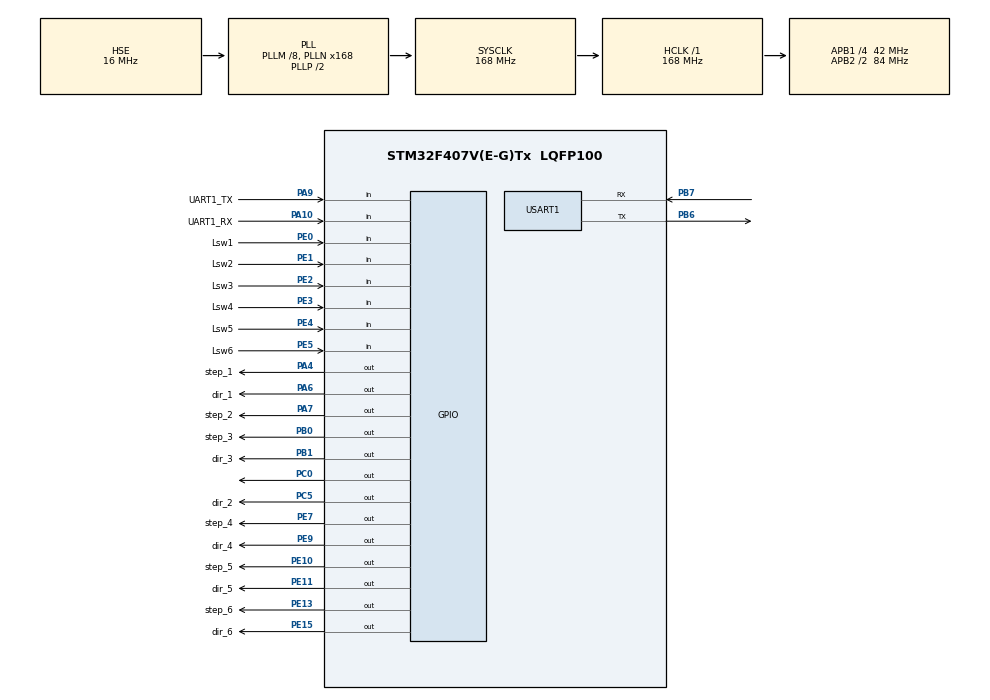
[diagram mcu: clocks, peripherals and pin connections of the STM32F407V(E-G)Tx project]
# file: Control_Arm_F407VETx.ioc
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Mcu.Family=STM32F4
Mcu.Name=STM32F407V(E-G)Tx
Mcu.Package=LQFP100
NVIC.PriorityGroup=NVIC_PRIORITYGROUP_4
NVIC.RCC_IRQn=true\:0\:0\:false\:false\:true\:true\:false
NVIC.TIM1_UP_TIM10_IRQn=true\:0\:0\:false\:false\:true\:true\:true
NVIC.TIM2_IRQn=true\:0\:0\:false\:false\:true\:true\:true
NVIC.TIM3_IRQn=true\:0\:0\:false\:false\:true\:true\:true
NVIC.TIM4_IRQn=true\:0\:0\:false\:false\:true\:true\:true
NVIC.TIM5_IRQn=true\:0\:0\:false\:false\:true\:true\:true
NVIC.TIM6_DAC_IRQn=true\:0\:0\:false\:false\:true\:true\:true
PA10.GPIO_Label=UART1_RX
PA10.Signal=GPIO_Input
PA13.Mode=Serial_Wire
PA13.Signal=SYS_JTMS-SWDIO
PA14.Mode=Serial_Wire
PA14.Signal=SYS_JTCK-SWCLK
PA4.GPIO_Label=step_1
PA4.Signal=GPIO_Output
PA6.GPIO_Label=dir_1
PA6.Signal=GPIO_Output
PA7.GPIO_Label=step_2
PA7.Signal=GPIO_Output
PA9.GPIO_Label=UART1_TX
PA9.Signal=GPIO_Input
PB0.GPIO_Label=step_3
PB0.Signal=GPIO_Output
PB1.GPIO_Label=dir_3
PB1.Signal=GPIO_Output
PB6.Mode=Asynchronous
PB6.Signal=USART1_TX
PB7.Mode=Asynchronous
PB7.Signal=USART1_RX
PC0.Signal=GPIO_Output
PC5.GPIO_Label=dir_2
PC5.Signal=GPIO_Output
PE0.GPIO_Label=Lsw1
PE0.Signal=GPIO_Input
PE1.GPIO_Label=Lsw2
PE1.Signal=GPIO_Input
PE10.GPIO_Label=step_5
PE10.Signal=GPIO_Output
PE11.GPIO_Label=dir_5
PE11.Signal=GPIO_Output
PE13.GPIO_Label=step_6
PE13.Signal=GPIO_Output
PE15.GPIO_Label=dir_6
PE15.Signal=GPIO_Output
PE2.GPIO_Label=Lsw3
PE2.Signal=GPIO_Input
PE3.GPIO_Label=Lsw4
PE3.Signal=GPIO_Input
PE4.GPIO_Label=Lsw5
PE4.Signal=GPIO_Input
PE5.GPIO_Label=Lsw6
PE5.Signal=GPIO_Input
PE7.GPIO_Label=step_4
PE7.Signal=GPIO_Output
PE9.GPIO_Label=dir_4
PE9.Signal=GPIO_Output
PH0-OSC_IN.Mode=HSE-External-Oscillator
PH0-OSC_IN.Signal=RCC_OSC_IN
PH1-OSC_OUT.Mode=HSE-External-Oscillator
PH1-OSC_OUT.Signal=RCC_OSC_OUT
ProjectManager.HeapSize=0x200
ProjectManager.StackSize=0x400
ProjectManager.TargetToolchain=STM32CubeIDE
RCC.48MHZClocksFreq_Value=84000000
RCC.AHBFreq_Value=168000000
RCC.APB1CLKDivider=RCC_HCLK_DIV4
RCC.APB1Freq_Value=42000000
RCC.APB1TimFreq_Value=84000000
RCC.APB2CLKDivider=RCC_HCLK_DIV2
RCC.APB2Freq_Value=84000000
RCC.APB2TimFreq_Value=168000000
RCC.CortexFreq_Value=168000000
RCC.HCLKFreq_Value=168000000
RCC.HSE_VALUE=16000000
RCC.HSI_VALUE=16000000
RCC.LSE_VALUE=32768
RCC.PLLM=8
RCC.PLLN=168
RCC.PLLSourceVirtual=RCC_PLLSOURCE_HSE
RCC.SYSCLKFreq_VALUE=168000000
RCC.SYSCLKSource=RCC_SYSCLKSOURCE_PLLCLK
RCC.VCOOutputFreq_Value=336000000
TIM1.AutoReloadPreload=TIM_AUTORELOAD_PRELOAD_ENABLE
TIM1.Period=1000
TIM1.Prescaler=167
TIM14.AutoReloadPreload=TIM_AUTORELOAD_PRELOAD_ENABLE
TIM14.Prescaler=83
TIM2.AutoReloadPreload=TIM_AUTORELOAD_PRELOAD_ENABLE
TIM2.Period=1000
TIM2.Prescaler=83
TIM3.AutoReloadPreload=TIM_AUTORELOAD_PRELOAD_ENABLE
TIM3.Period=1000
TIM3.Prescaler=83
TIM4.AutoReloadPreload=TIM_AUTORELOAD_PRELOAD_ENABLE
TIM4.Period=1000
TIM4.Prescaler=83
TIM5.AutoReloadPreload=TIM_AUTORELOAD_PRELOAD_ENABLE
TIM5.Period=1000
TIM5.Prescaler=83
TIM6.AutoReloadPreload=TIM_AUTORELOAD_PRELOAD_ENABLE
TIM6.Period=1000
TIM6.Prescaler=83
USART1.VirtualMode=VM_ASYNC
VP_TIM14_VS_ClockSourceINT.Mode=Enable_Timer
VP_TIM1_VS_ClockSourceINT.Mode=Internal
VP_TIM2_VS_ClockSourceINT.Mode=Internal
VP_TIM3_VS_ClockSourceINT.Mode=Internal
VP_TIM4_VS_ClockSourceINT.Mode=Internal
VP_TIM5_VS_ClockSourceINT.Mode=Internal
VP_TIM6_VS_ClockSourceINT.Mode=Enable_Timer
board=custom

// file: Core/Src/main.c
/* USER CODE BEGIN Header */
/**
  ******************************************************************************
  * @file           : main.c
  * @brief          : Main program body
  ******************************************************************************
  * @attention
  *
  * Copyright (c) 2022 STMicroelectronics.
  * All rights reserved.
  *
  * This software is licensed under terms that can be found in the LICENSE file
  * in the root directory of this software component.
  * If no LICENSE file comes with this software, it is provided AS-IS.
  *
  ******************************************************************************
  */
/* USER CODE END Header */
#include "main.h"
#include "tim.h"
#include "usart.h"
#include "gpio.h"

/* USER CODE BEGIN Includes */
//#include "stdio.h"
#include "Accel_stepper.h" // Stepper Library
#include "cli.h" // Uart Library
#include "MY_FLASH.h" // Flash memory
#include "Inverse_Arm.h"
#include "string.h"
/* USER CODE END Includes */

/* USER CODE BEGIN PTD */
/*Declare acceleration for each stepper*/
Acceleration_t Stepper1;
Acceleration_t Stepper2;
Acceleration_t Stepper3;
Acceleration_t Stepper4;
Acceleration_t Stepper5;
Acceleration_t Stepper6;
Inv_Arm_t Arm;

/*
.
.
Acceleration_t Stepper#n
*/

/* USER CODE END PTD */

/* USER CODE BEGIN PM */
//Formula compare the value of stepper
#define max(x,y) (x > y) ? x : y;
#define min(x,y) (x > y) ? y : x;
/* USER CODE END PM */

/* USER CODE BEGIN PV */
//=================================ARM=========================================//
float theta1 = 0;
float theta2 = 0;
float theta3 = 0;
float theta4 = 0;
float theta5 = 0;
float theta6 = 0;

int set_theta1 = 0;
int set_theta2 = 0;
int set_theta3 = 0;
int set_theta4 = 0;
int set_theta5 = 0;
int set_theta6 = 0;

uint8_t freerun = 1;
int Move_angle1=0;
int Move_angle2=0;
int Move_angle3=0;
int Move_angle4=0;
int Move_angle5=0;
int Move_angle6=0;

uint8_t Lsw1 = 0;
uint8_t Lsw2 = 0;
uint8_t Lsw3 = 0;
uint8_t Lsw4 = 1;
uint8_t Lsw5 = 0;
uint8_t Lsw6 = 0;

uint16_t theta1dot = 0;
uint16_t theta2dot = 0;
uint16_t theta3dot = 0;
uint16_t theta4dot = 0;
uint16_t theta5dot = 0;
uint16_t theta6dot = 0;
uint16_t max_speed = 500;

uint16_t accel1 = 0;
uint16_t accel2 = 0;
uint16_t accel3 = 0;
uint16_t accel4 = 0;
uint16_t accel5 = 0;
uint16_t accel6 = 0;
uint16_t a_max = 2000;

uint32_t step1 = 0;
uint32_t step2 = 0;
uint32_t step3 = 0;
uint32_t step4 = 0;
uint32_t step5 = 0;
uint32_t step6 = 0;

Memory_t memory;
char uart_buffer[100];
char Data[10] = "Hello\n\r";

// Uart_buffer store variable from cmd;
/* USER CODE END PV */

void SystemClock_Config(void);
/* USER CODE BEGIN PFP */
void HAL_TIM_PeriodElapsedCallback(TIM_HandleTypeDef *htim);
void stepper_set_rpm (uint16_t rpm);

/* USER CODE END PFP */

/* USER CODE BEGIN 0 */
void DelayUs_step(uint32_t us)
{
	HAL_TIM_Base_Start_IT(&htim14);
	//(&htim7)->Instance->CNT = (0);
	__HAL_TIM_SET_COUNTER(&htim14, 0);
	while(__HAL_TIM_GET_COUNTER(&htim14) < us);
	HAL_TIM_Base_Stop_IT(&htim14);
}
// Compare the value of 6 stepper motor
int max6(int a, int b, int c, int d,int e, int f){
	int n1=max(a,b);
	int n2=max(c,d);
	int n3=max(e,f);
	int n4=max(n1,n2);
    return max(n3,n4);
}
// Limit switch start
void limit_switch (){
//   Lsw1= HAL_GIOP_ReadPin​(GPIOE, GPIO_PIN_0);
     Lsw2= HAL_GPIO_ReadPin(GPIOE, GPIO_PIN_1);
     Lsw3= HAL_GPIO_ReadPin(GPIOE, GPIO_PIN_2);
     Lsw4= HAL_GPIO_ReadPin(GPIOE, GPIO_PIN_3);
     Lsw5= HAL_GPIO_ReadPin(GPIOE, GPIO_PIN_4);
     Lsw6= HAL_GPIO_ReadPin(GPIOE, GPIO_PIN_5);
}
signed int angle2step(float angle, int ratio){
	    return angle*SPR*ratio/360;
//  	return angle*SPR*ratio/360   ;//20=2*gearratio
}
signed int rad2step(float rads, int gear){
//	rads*SPR*10/(2*pi)=rads/ALPHA
	return rads*gear/ALPHA;//20=2*gearratio
}
void HOME(void){
//	static uint8_t rule2= 0;  // static run for only one time
	HAL_GPIO_WritePin(dir_1_GPIO_Port, dir_1_Pin, 0);//CW-
	HAL_GPIO_WritePin(dir_2_GPIO_Port, dir_2_Pin, 1);//CCW+
	HAL_GPIO_WritePin(dir_3_GPIO_Port, dir_3_Pin, 0);//CW-
	HAL_GPIO_WritePin(dir_4_GPIO_Port, dir_4_Pin, 1);//CCW+
	HAL_GPIO_WritePin(dir_5_GPIO_Port, dir_5_Pin, 1);//CW-
    HAL_GPIO_WritePin(dir_6_GPIO_Port, dir_6_Pin, 1);//CCW+
while (Lsw2 ==0 || Lsw3==0 ||Lsw5==0 ){ // if it work in condition 0 when it touch limit switch Lsw=1=> Out of loop
      limit_switch ();// call void limit switch
	if (Lsw2==0){
	HAL_GPIO_TogglePin(step_2_GPIO_Port, step_2_Pin);
	}
	if (Lsw3==0){
	 HAL_GPIO_TogglePin(step_3_GPIO_Port, step_3_Pin);
	}
//    if ( Lsw4==1){
//    	HAL_GPIO_TogglePin(step_4_GPIO_Port, step_4_Pin);// Lsw4==0 when the motor keep in touch with (**Logic AND)
//    }
    if (Lsw5==0){
    	HAL_GPIO_TogglePin(step_5_GPIO_Port, step_5_Pin);
    }
    DelayUs_step(200); // Control pule delay motor
  }
//  while (Lsw1==0){
//	limit_switch();
//	if (Lsw1==0){
//		HAL_GPIO_TogglePin(step_1_GPIO_Port, step_1_Pin);
//	}
//	DelayUs_step(400);  //(Axis-1 move later)
//  }
}
// Limit switch End
//
// To find the max value
void Syn_Stepper(int step1, int step2, int step3, int step4, int step5, int step6){
	int step_max = max6(abs(step1), abs(step2), abs(step3), abs(step4), abs(step5), abs(step6));
	float coef1 = fabs(step1)/step_max;
	float coef2 = fabs(step2)/step_max;
	float coef3 = fabs(step3)/step_max;
	float coef4 = fabs(step4)/step_max;
	float coef5 = fabs(step5)/step_max;
	float coef6 = fabs(step6)/step_max;
	theta1dot = max_speed * coef1;
	theta2dot = max_speed * coef2;
	theta3dot = max_speed * coef3;
	theta4dot = max_speed * coef4;
	theta5dot = max_speed * coef5;
	theta6dot = max_speed * coef6;
	accel1 = a_max * coef1;
	accel2 = a_max * coef2;
	accel3 = a_max * coef3;
	accel4 = a_max * coef4;
	accel5 = a_max * coef5;
	accel6 = a_max * coef6;
}
/* USER CODE END 0 */

int main(void)
{

  /* MCU Configuration--------------------------------------------------------*/

  /* Reset of all peripherals, Initializes the Flash interface and the Systick. */
  HAL_Init();

  /* Configure the system clock */
  SystemClock_Config();

  /* Initialize all configured peripherals */
  MX_GPIO_Init();
  MX_TIM1_Init();
  MX_TIM2_Init();
  MX_TIM3_Init();
  MX_TIM4_Init();
  MX_TIM5_Init();
  MX_TIM6_Init();
  MX_TIM14_Init();
  MX_USART1_UART_Init();
  /* USER CODE BEGIN 2 */
//  stepper_motor_set_param(MOTOR_X, 100);
	  Accel_Stepper_SetPin(&Stepper1, step_1_GPIO_Port, step_1_Pin, dir_1_GPIO_Port, dir_1_Pin);
	  Accel_Stepper_SetPin(&Stepper2, step_2_GPIO_Port, step_2_Pin, dir_2_GPIO_Port, dir_2_Pin);
	  Accel_Stepper_SetPin(&Stepper3, step_3_GPIO_Port, step_3_Pin, dir_3_GPIO_Port, dir_3_Pin);
	  Accel_Stepper_SetPin(&Stepper4, step_4_GPIO_Port, step_4_Pin, dir_4_GPIO_Port, dir_4_Pin);
	  Accel_Stepper_SetPin(&Stepper5, step_5_GPIO_Port, step_5_Pin, dir_5_GPIO_Port, dir_5_Pin);
	  Accel_Stepper_SetPin(&Stepper6, step_6_GPIO_Port, step_6_Pin, dir_6_GPIO_Port, dir_6_Pin);
	  Accel_Stepper_SetTimer(&Stepper1, &htim1);
	  Accel_Stepper_SetTimer(&Stepper2, &htim2);
	  Accel_Stepper_SetTimer(&Stepper3, &htim3);
      Accel_Stepper_SetTimer(&Stepper4, &htim4);
	  Accel_Stepper_SetTimer(&Stepper5, &htim5);
	  Accel_Stepper_SetTimer(&Stepper6, &htim6);
	  HAL_Delay(2000);
// Testing motor
//	  Accel_Stepper_Move(&Stepper1, angle2step(60,5), 1000, 1000, 200);
//	  Accel_Stepper_Move(&Stepper2, angle2step(60,20), 1000, 1000, 200);
//	  Accel_Stepper_Move(&Stepper3, angle2step(60,20), 1000, 1000, 200);
//	  Accel_Stepper_Move(&Stepper4, angle2step(60,14), 1000, 1000, 200);
//	  Accel_Stepper_Move(&Stepper5, angle2step(30,14), 1000, 1000, 200);
//	  Accel_Stepper_Move(&Stepper6, angle2step(60,14), 1000, 1000, 200);
// Testing Power Input
//	  HAL_GPIO_WritePin(dir_2_GPIO_Port, dir_2_Pin, 0);
//	  HAL_GPIO_WritePin(step_2_GPIO_Port, step_2_Pin, 0);

HOME(); // Call the function Home to use
//	Initial angle
	  	theta1 = 90;  // Set_Point as Home
	  	theta2 = 90;
	  	theta3 = 90;
//	  	theta4 = 0;
	  	theta5 = 90;
	  	theta6 = 0;
	  	Accel_Stepper_Move(&Stepper1, angle2step(0,5) , 1000, 1000, 200);
	  	Accel_Stepper_Move(&Stepper2, angle2step(-90,20) , 1000, 1000, 200);
	  	Accel_Stepper_Move(&Stepper3, angle2step(90,20) , 1000, 1000, 200);
//	  	Accel_Stepper_Move(&Stepper4, angle2step(0,14) , 1000, 1000, 200);
		Accel_Stepper_Move(&Stepper5, angle2step(-90,14) , 1000, 1000, 200);
//		angle2step(angle move back after get touch with limit switch to Home, ratio);

CLI_Init(&huart1);
MY_FLASH_SetSectorAddrs(11, 0x080E5000); // address flash memory
//MY_FLASH_SetSectorAddrs(sector, address);

  /* USER CODE END 2 */

  /* Infinite loop */
  while (1)
  {

    /* USER CODE BEGIN 3 */
//	  HAL_UART_Transmit(&huart1,(uint8_t*) &Data, sizeof(Data), 100);
//	  HAL_Delay(1000);

	  static uint8_t count_arm = 0;

	 if(Stepper1.run_status != 1 && Stepper2.run_status != 1 && Stepper3.run_status != 1 && Stepper5.run_status != 1 && Stepper6.run_status != 1){
	 	 	  if(freerun == 1){
	 			  switch(count_arm){

//	 			Cinematic Mode
	 			  case 0:
	 				  Arm.theta1 = 20;
	 				  Arm.theta2 = 80;
	 				  Arm.theta3 = 60;
//	 			      Arm.theta4 = 0;
	 				  Arm.theta5 = 130;
	 				  Arm.theta6 = 90;
	 				  break;
	 			  case 1:
	 				  Arm.theta1 = 90;
	 				  Arm.theta2 = 60;
	 				  Arm.theta3 = 90;
//	 			      Arm.theta4 = 0;
	 				  Arm.theta5 = 120;
	 				  Arm.theta6 = 0;
	 				  break;

	 			  case 2:
	 				  Arm.theta1 = 120;
	 				  Arm.theta2 = 100;
	 				  Arm.theta3 = 60;
//	 				  Arm.theta4 = 0;
	 				  Arm.theta5 = 120;
	 				  Arm.theta6 = -90;
	 				 break;
	 			  case 3:
	 				  Arm.theta1 = 160;
	 				  Arm.theta2 = 90;
	 				  Arm.theta3 = 60;
//	 				  Arm.theta4 = 0;
	 				  Arm.theta5 =120;
	 				  Arm.theta6 = 0;
	 				 break;
	 			  }
	 			  Move_angle1 = angle2step(Arm.theta1 - theta1, 5);
	 			  Move_angle2 = angle2step(Arm.theta2 - theta2, 20);
	 			  Move_angle3 = angle2step(Arm.theta3 - theta3, 20);
//	 		      Move_angle4 = angle2step(Arm.theta4 - theta4, 14);
	 			  Move_angle5 = angle2step(Arm.theta5 - theta5, 14);
	 			  Move_angle6 = angle2step(Arm.theta6 - theta6, 14);

	 			  Syn_Stepper(Move_angle1, Move_angle2, Move_angle3, Move_angle4, Move_angle5, Move_angle6);

	 			  Accel_Stepper_Move(&Stepper1, Move_angle1, accel1, accel1, theta1dot);
	 			  Accel_Stepper_Move(&Stepper2, Move_angle2, accel2, accel2, theta2dot);
	 			  Accel_Stepper_Move(&Stepper3, Move_angle3, accel3, accel3, theta3dot);
//	 		      Accel_Stepper_Move(&Stepper4, Move_angle4, accel4, accel4, theta4dot);
	 			  Accel_Stepper_Move(&Stepper5, Move_angle5, accel5, accel5, theta5dot);
	 			  Accel_Stepper_Move(&Stepper6, Move_angle6, accel6, accel6, theta6dot);

	 			  theta1 = Arm.theta1; // Set theta to update
	 			  theta2 = Arm.theta2;
	 			  theta3 = Arm.theta3;
//	 		      theta4 = Arm.theta4;
	 			  theta5 = Arm.theta5;
	 			  theta6 = Arm.theta6;
//	 			  Drawing Mode
//	 			 case 0:
//	 			   Arm.theta1= 90;
//	 			   Arm.theta2= 90;
//	 			   Arm.theta3= 60;
//	 			   Arm.theta5= 110;
//	 			   Arm.theta6= 0;
//	 			break;
//	 			 case 1:
//	 			   Arm.theta1= 80;
//	 			   Arm.theta2= 90;
//	 			   Arm.theta3= 100;
//	 			   Arm.theta5= 110;
//	 			   Arm.theta6= 0;
//	 			 break;
////	 			 case 2:
////	 		  Arm.theta1= 90;
////	 		  Arm.theta2= 90;
////	 		  Arm.theta3= 90;
////	 		  Arm.theta5= 110;
////	 		  Arm.theta6= 0;
////	 		break;
////	 		case 3:
////	 		Arm.theta1= 80;
////	 		Arm.theta2= 90;
////	 		Arm.theta3= 100;
////	 	    Arm.theta5=110;
////	 	    Arm.theta6= 0;
////	 	    break;
//	 			  }
//	 	     Move_angle1 = angle2step(Arm.theta1 - theta1, 5);
//	 	     Move_angle2 = angle2step(Arm.theta2 - theta2, 20);
//           Move_angle3 = angle2step(Arm.theta3 - theta3, 20);
//	 	     Move_angle5 = angle2step(Arm.theta5 - theta5, 14);
//	 	     Move_angle6 = angle2step(Arm.theta6 - theta6, 14);
//
//          Syn_Stepper(Move_angle1, Move_angle2, Move_angle3, Move_angle4, Move_angle5, Move_angle6);

//	        Accel_Stepper_Move(&Stepper1, Move_angle1, accel1, accel1, theta1dot);
//	 	    Accel_Stepper_Move(&Stepper2, Move_angle2, accel2, accel2, theta2dot);
//	        Accel_Stepper_Move(&Stepper3, Move_angle3, accel3, accel3, theta3dot);
//	        Accel_Stepper_Move(&Stepper5, Move_angle5, accel5, accel5, theta5dot);
//          Accel_Stepper_Move(&Stepper6, Move_angle6, accel6, accel6, theta6dot);

//	 		 theta1 = Arm.theta1;
//	 	     theta2 = Arm.theta2;
//	 		 theta2 = Arm.theta3;
//	 	     theta5 = Arm.theta5;
//	 		 theta6 = Arm.theta6;
	 		  }
	 		 count_arm = count_arm + 1;
	 		 if(count_arm > 3) count_arm = 0;
	  }
    // UART Start
    CLI_Process(); // Call the CLI Library to use
	char* msg=strtok(uart_buffer," ");//Get msg and store by uart_buffer
	  if(strcmp(msg, "set_home")==0){ //After get msg string compare start comparing the value (msg and set_home); (*Logic AND)
		                              //The both of two value should the same by  using string compare
		HOME();
		theta1 = 90;
		theta2 = 90;
		theta3 = 90;
		theta4 = 0;
		theta5 = 90;
		theta6 = 0;
		CLI_Printf("Done!");
	 	memset(uart_buffer, 0, 100);
	  }
	   if (strcmp(msg, "set_amax")==0){
	      char* cmd=strtok(uart_buffer, " ");
	   if (cmd !=NULL){
	    	  char* arg = strtok(NULL, " "); // read the string after x (read char from cmd)
	    	   uint32_t val = atoi(arg);    // Read ascii computer Language
	    	   memcpy(&memory.a_max, &val, sizeof(uint32_t));
	    	   memset(uart_buffer, 0, 100);
//	    	   memset (void *, int, size_t); //Reset cmd that store by FLASH MEMORIE
	    	                                //In this use to store the value of a_max; v_max and theta read from cmd
	   }
	  }
	   if (strcmp(msg,"set_vmax")==0){
		   char* cmd=strtok(uart_buffer," ");
	     if (cmd!=NULL){
		   char* arg = strtok(NULL, " "); // Read cmd form UART to clear value one by one  // Read cmd after x
		   uint32_t val = atoi(arg);
		   memcpy(&memory.v_max, &val, sizeof(uint32_t));
		   memset(uart_buffer, 0, 100);
	     }
	   }
	   if (strcmp(msg,"theta")==0){
		   char* cmd=strtok(uart_buffer," ");
	   if (cmd !=NULL){
		   Inv_Arm_t Arm;
		   char* arg1=strtok(NULL,"");
		   char* arg2=strtok(NULL,"");
		   char* arg3=strtok(NULL,"");
		   char* arg4=strtok(NULL,"");
		   char* arg5=strtok(NULL,"");
		   char* arg6=strtok(NULL,"");
		   Arm.theta1 = atof(arg1);
		   Arm.theta2 = atof(arg2);
		   Arm.theta3 = atof(arg3);
		   Arm.theta4 = atof(arg4);
		   Arm.theta5 = atof(arg5);
		   Arm.theta6 = atof(arg6);
		   memset(uart_buffer, 0, 100);
		   step1 = angle2step(Arm.theta1, 5); //angle2step(angle,ratio of gear box motor)
		   step2 = angle2step(Arm.theta2,20);
		   step3 = angle2step(Arm.theta3,20);
		   step4 = angle2step(Arm.theta4,14);
		   step5 = angle2step(Arm.theta5,14);
		   step6 = angle2step(Arm.theta6,14);
	     }
    }
// UART END
//--------------------------------------------------------------
//	           step  =angle2step(angle, ratio of gear box motor);
//	           step1 = angle2step(180,10);
//	   		   step2 = angle2step(45-theta2,20);
//	   		   step3 = angle2step(60-theta3,20);
////	   	   step4 = angle2step(360,14);
//	   		   step5 = angle2step(170-theta5,14);
//	   		   step6 = angle2step(180,14);
//	       Syn_Stepper(step1, step2,step3,step4,step5,step6);
//  if(Stepper1.run_status == 0){
//		    Accel_Stepper_Move(&Stepper1, step1 , accel1, accel1, theta1dot);// acceleration=deceleration
////	    Accel_Stepper_Move(&Stepper1, step1 , accel1, decel1, speed);
//	  }
//	if(Stepper2.run_status == 0){
//		    Accel_Stepper_Move(&Stepper2, step2 , accel2, accel2, theta2dot);
////		    theta2=45; // angle move after motor stop
//	}
//	if(Stepper3.run_status == 0){
//			Accel_Stepper_Move(&Stepper3, step3 , accel3, accel3, theta3dot);
////			theta3=60;
//	}
//	if(Stepper4.run_status == 0){
//			Accel_Stepper_Move(&Stepper4, step4 , accel4, accel4, theta4dot);
//		}
//	if(Stepper5.run_status == 0){
//			Accel_Stepper_Move(&Stepper5, step5 , accel5, accel5, theta5dot);
////           theta5=170;
//		}
//	if(Stepper6.run_status == 0){
//			Accel_Stepper_Move(&Stepper6, step6 , accel6, accel6, theta6dot);
//		}
	HAL_Delay(1000);
//	limit_switch (); // Call the limit switch to test
  }
  /* USER CODE END 3 */
}

void SystemClock_Config(void)
{
  RCC_OscInitTypeDef RCC_OscInitStruct = {0};
  RCC_ClkInitTypeDef RCC_ClkInitStruct = {0};

  /** Configure the main internal regulator output voltage
  */
  __HAL_RCC_PWR_CLK_ENABLE();
  __HAL_PWR_VOLTAGESCALING_CONFIG(PWR_REGULATOR_VOLTAGE_SCALE1);
  /** Initializes the RCC Oscillators according to the specified parameters
  * in the RCC_OscInitTypeDef structure.
  */
  RCC_OscInitStruct.OscillatorType = RCC_OSCILLATORTYPE_HSE;
  RCC_OscInitStruct.HSEState = RCC_HSE_ON;
  RCC_OscInitStruct.PLL.PLLState = RCC_PLL_ON;
  RCC_OscInitStruct.PLL.PLLSource = RCC_PLLSOURCE_HSE;
  RCC_OscInitStruct.PLL.PLLM = 8;
  RCC_OscInitStruct.PLL.PLLN = 168;
  RCC_OscInitStruct.PLL.PLLP = RCC_PLLP_DIV2;
  RCC_OscInitStruct.PLL.PLLQ = 4;
  if (HAL_RCC_OscConfig(&RCC_OscInitStruct) != HAL_OK)
  {
    Error_Handler();
  }
  /** Initializes the CPU, AHB and APB buses clocks
  */
  RCC_ClkInitStruct.ClockType = RCC_CLOCKTYPE_HCLK|RCC_CLOCKTYPE_SYSCLK
                              |RCC_CLOCKTYPE_PCLK1|RCC_CLOCKTYPE_PCLK2;
  RCC_ClkInitStruct.SYSCLKSource = RCC_SYSCLKSOURCE_PLLCLK;
  RCC_ClkInitStruct.AHBCLKDivider = RCC_SYSCLK_DIV1;
  RCC_ClkInitStruct.APB1CLKDivider = RCC_HCLK_DIV4;
  RCC_ClkInitStruct.APB2CLKDivider = RCC_HCLK_DIV2;

  if (HAL_RCC_ClockConfig(&RCC_ClkInitStruct, FLASH_LATENCY_5) != HAL_OK)
  {
    Error_Handler();
  }
}

/* USER CODE BEGIN 4 */
void HAL_TIM_PeriodElapsedCallback(TIM_HandleTypeDef *htim){

	  if(htim->Instance == TIM1){//stepper1
		      Accel_Stepper_TIMIT_Handler(&Stepper1);
	  }
	  if(htim->Instance == TIM2){//stepper2
		      Accel_Stepper_TIMIT_Handler(&Stepper2);
	  }
	  if(htim->Instance == TIM3){//stepper3
	 		  Accel_Stepper_TIMIT_Handler(&Stepper3);
	 	  }
	  if(htim->Instance == TIM4){//stepper4
	 		  Accel_Stepper_TIMIT_Handler(&Stepper4);
	 	  }
	  if(htim->Instance == TIM5){//stepper5
	 		  Accel_Stepper_TIMIT_Handler(&Stepper5);
	 	  }
	  if(htim->Instance == TIM6){//stepper6
	 		  Accel_Stepper_TIMIT_Handler(&Stepper6);
  }
}

/* USER CODE END 4 */

void Error_Handler(void)
{
  __disable_irq();
  while (1)
  {
  }
}
